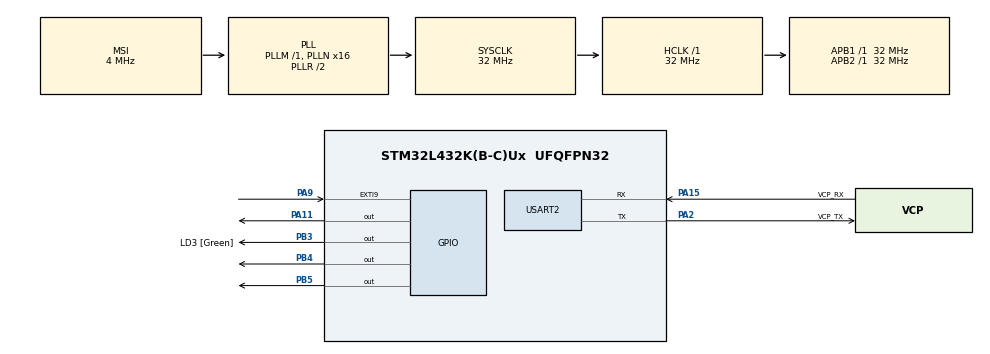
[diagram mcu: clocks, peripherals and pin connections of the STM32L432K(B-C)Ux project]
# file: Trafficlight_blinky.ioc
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Mcu.Family=STM32L4
Mcu.Name=STM32L432K(B-C)Ux
Mcu.Package=UFQFPN32
NVIC.EXTI9_5_IRQn=true\:0\:0\:false\:false\:true\:true\:true\:true
NVIC.PriorityGroup=NVIC_PRIORITYGROUP_4
NVIC.TIM1_BRK_TIM15_IRQn=true\:0\:0\:false\:false\:true\:true\:true\:true
NVIC.TIM1_CC_IRQn=true\:0\:0\:false\:false\:true\:true\:true\:true
NVIC.TIM1_TRG_COM_IRQn=true\:0\:0\:false\:false\:true\:true\:true\:true
NVIC.TIM1_UP_TIM16_IRQn=true\:0\:0\:false\:false\:true\:true\:true\:true
PA0.GPIO_Label=MCO [High speed clock in]
PA0.Mode=HSE-External-Clock-Source-for-LittleOrca
PA0.Signal=RCC_CK_IN
PA11.Signal=GPIO_Output
PA13\ (JTMS-SWDIO).GPIO_Label=SWDIO
PA13\ (JTMS-SWDIO).Mode=Serial_Wire
PA13\ (JTMS-SWDIO).Signal=SYS_JTMS-SWDIO
PA14\ (JTCK-SWCLK).GPIO_Label=SWCLK
PA14\ (JTCK-SWCLK).Mode=Serial_Wire
PA14\ (JTCK-SWCLK).Signal=SYS_JTCK-SWCLK
PA15\ (JTDI).GPIO_Label=VCP_RX
PA15\ (JTDI).Mode=Asynchronous
PA15\ (JTDI).Signal=USART2_RX
PA2.GPIO_Label=VCP_TX
PA2.Mode=Asynchronous
PA2.Signal=USART2_TX
PA9.Signal=GPXTI9
PB3\ (JTDO-TRACESWO).GPIO_Label=LD3 [Green]
PB3\ (JTDO-TRACESWO).Signal=GPIO_Output
PB4\ (NJTRST).Signal=GPIO_Output
PB5.Signal=GPIO_Output
PC14-OSC32_IN\ (PC14).Mode=LSE-External-Oscillator
PC14-OSC32_IN\ (PC14).Signal=RCC_OSC32_IN
PC15-OSC32_OUT\ (PC15).Mode=LSE-External-Oscillator
PC15-OSC32_OUT\ (PC15).Signal=RCC_OSC32_OUT
ProjectManager.HeapSize=0x200
ProjectManager.StackSize=0x400
ProjectManager.TargetToolchain=Makefile
RCC.AHBFreq_Value=32000000
RCC.APB1Freq_Value=32000000
RCC.APB1TimFreq_Value=32000000
RCC.APB2Freq_Value=32000000
RCC.APB2TimFreq_Value=32000000
RCC.CortexFreq_Value=32000000
RCC.HCLKFreq_Value=32000000
RCC.HSE_VALUE=8000000
RCC.HSI16_VALUE=16000000
RCC.HSI48_VALUE=48000000
RCC.HSI_VALUE=16000000
RCC.MSI_VALUE=4000000
RCC.PLLMUL=RCC_PLLMUL_4
RCC.PLLN=16
RCC.SYSCLKFreq_VALUE=32000000
RCC.SYSCLKSource=RCC_SYSCLKSOURCE_PLLCLK
RCC.VCOOutputFreq_Value=64000000
TIM1.Period=50
TIM1.Prescaler=32000
TIM15.Period=50
TIM15.Prescaler=32000
USART2.VirtualMode-Asynchronous=VM_ASYNC
VP_TIM15_VS_ClockSourceINT.Mode=Internal
VP_TIM1_VS_ClockSourceINT.Mode=Internal
board=NUCLEO-L432KC

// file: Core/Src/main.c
/* USER CODE BEGIN Header */
/**
  ******************************************************************************
  * @file           : main.c
  * @brief          : Main program body
  ******************************************************************************
  * @attention
  *
  * Copyright (c) 2022 STMicroelectronics.
  * All rights reserved.
  *
  * This software is licensed under terms that can be found in the LICENSE file
  * in the root directory of this software component.
  * If no LICENSE file comes with this software, it is provided AS-IS.
  *
  ******************************************************************************
  */
/* USER CODE END Header */
#include "main.h"

TIM_HandleTypeDef htim1;
TIM_HandleTypeDef htim15;

UART_HandleTypeDef huart2;

/* USER CODE BEGIN PV */
int count = 1;
typedef enum { false, true } bool;
bool state = true;
/* USER CODE END PV */

void SystemClock_Config(void);
static void MX_GPIO_Init(void);
static void MX_USART2_UART_Init(void);
static void MX_TIM1_Init(void);
static void MX_TIM15_Init(void);

/* USER CODE BEGIN 0 */
void HAL_GPIO_EXTI_Callback(uint16_t GPIO_Pin)
{
	HAL_TIM_Base_Start_IT(&htim1);
	state = false;
  // if(GPIO_Pin == GPIO_PIN_9){
	// HAL_TIM_Base_Start_IT(&htim1);
	// state = false;
  // }

}

void HAL_TIM_PeriodElapsedCallback(TIM_HandleTypeDef *htim)
{
  /* Prevent unused argument(s) compilation warning */
  UNUSED(htim);

  /* NOTE : This function should not be modified, when the callback is needed,
            the HAL_TIM_PeriodElapsedCallback could be implemented in the user file
   */
	if(HAL_GPIO_ReadPin(GPIOA, GPIO_PIN_11) == GPIO_PIN_RESET){ // 9
		if(count < 2){
		      count++;
		      }
		      else
		        count = 1;
		    }
		state = true;
		HAL_TIM_Base_Stop_IT(&htim1);

}
/* USER CODE END 0 */

int main(void)
{

  /* MCU Configuration--------------------------------------------------------*/

  /* Reset of all peripherals, Initializes the Flash interface and the Systick. */
  HAL_Init();

  /* Configure the system clock */
  SystemClock_Config();

  /* Initialize all configured peripherals */
  MX_GPIO_Init();
  MX_USART2_UART_Init();
  MX_TIM1_Init();
  MX_TIM15_Init();

  /* Infinite loop */
  /* USER CODE BEGIN WHILE */
  while (1)
  {
    if(count == 1){
    	HAL_GPIO_WritePin(GPIOA,GPIO_PIN_11, GPIO_PIN_SET);
      HAL_Delay(1000);
      HAL_GPIO_WritePin(GPIOA,GPIO_PIN_11, GPIO_PIN_RESET);
      HAL_GPIO_WritePin(GPIOB,GPIO_PIN_5, GPIO_PIN_SET);
      HAL_Delay(500);
      HAL_GPIO_WritePin(GPIOB,GPIO_PIN_5, GPIO_PIN_RESET);
      HAL_GPIO_WritePin(GPIOB,GPIO_PIN_4, GPIO_PIN_SET);
      HAL_Delay(1000);
      HAL_GPIO_WritePin(GPIOB,GPIO_PIN_4, GPIO_PIN_RESET);
      HAL_GPIO_WritePin(GPIOB,GPIO_PIN_5, GPIO_PIN_SET);
      HAL_Delay(500);
      HAL_GPIO_WritePin(GPIOB,GPIO_PIN_5, GPIO_PIN_RESET);
    }
    else{
    	HAL_GPIO_WritePin(GPIOA,GPIO_PIN_11, GPIO_PIN_RESET);
      HAL_GPIO_WritePin(GPIOB,GPIO_PIN_4, GPIO_PIN_RESET);
      HAL_GPIO_WritePin(GPIOB,GPIO_PIN_5, GPIO_PIN_RESET);
      HAL_GPIO_WritePin(GPIOB,GPIO_PIN_5, GPIO_PIN_SET);
      HAL_Delay(500);
      HAL_GPIO_WritePin(GPIOB,GPIO_PIN_5, GPIO_PIN_RESET);
      HAL_Delay(500);
    }
    /* USER CODE END WHILE */

  }
}

void SystemClock_Config(void)
{
  RCC_OscInitTypeDef RCC_OscInitStruct = {0};
  RCC_ClkInitTypeDef RCC_ClkInitStruct = {0};

  /** Configure the main internal regulator output voltage
  */
  if (HAL_PWREx_ControlVoltageScaling(PWR_REGULATOR_VOLTAGE_SCALE1) != HAL_OK)
  {
    Error_Handler();
  }

  /** Configure LSE Drive Capability
  */
  HAL_PWR_EnableBkUpAccess();
  __HAL_RCC_LSEDRIVE_CONFIG(RCC_LSEDRIVE_LOW);

  /** Initializes the RCC Oscillators according to the specified parameters
  * in the RCC_OscInitTypeDef structure.
  */
  RCC_OscInitStruct.OscillatorType = RCC_OSCILLATORTYPE_LSE|RCC_OSCILLATORTYPE_MSI;
  RCC_OscInitStruct.LSEState = RCC_LSE_ON;
  RCC_OscInitStruct.MSIState = RCC_MSI_ON;
  RCC_OscInitStruct.MSICalibrationValue = 0;
  RCC_OscInitStruct.MSIClockRange = RCC_MSIRANGE_6;
  RCC_OscInitStruct.PLL.PLLState = RCC_PLL_ON;
  RCC_OscInitStruct.PLL.PLLSource = RCC_PLLSOURCE_MSI;
  RCC_OscInitStruct.PLL.PLLM = 1;
  RCC_OscInitStruct.PLL.PLLN = 16;
  RCC_OscInitStruct.PLL.PLLP = RCC_PLLP_DIV7;
  RCC_OscInitStruct.PLL.PLLQ = RCC_PLLQ_DIV2;
  RCC_OscInitStruct.PLL.PLLR = RCC_PLLR_DIV2;
  if (HAL_RCC_OscConfig(&RCC_OscInitStruct) != HAL_OK)
  {
    Error_Handler();
  }

  /** Initializes the CPU, AHB and APB buses clocks
  */
  RCC_ClkInitStruct.ClockType = RCC_CLOCKTYPE_HCLK|RCC_CLOCKTYPE_SYSCLK
                              |RCC_CLOCKTYPE_PCLK1|RCC_CLOCKTYPE_PCLK2;
  RCC_ClkInitStruct.SYSCLKSource = RCC_SYSCLKSOURCE_PLLCLK;
  RCC_ClkInitStruct.AHBCLKDivider = RCC_SYSCLK_DIV1;
  RCC_ClkInitStruct.APB1CLKDivider = RCC_HCLK_DIV1;
  RCC_ClkInitStruct.APB2CLKDivider = RCC_HCLK_DIV1;

  if (HAL_RCC_ClockConfig(&RCC_ClkInitStruct, FLASH_LATENCY_1) != HAL_OK)
  {
    Error_Handler();
  }

  /** Enable MSI Auto calibration
  */
  HAL_RCCEx_EnableMSIPLLMode();
}

static void MX_TIM1_Init(void)
{

  TIM_ClockConfigTypeDef sClockSourceConfig = {0};
  TIM_MasterConfigTypeDef sMasterConfig = {0};

  htim1.Instance = TIM1;
  htim1.Init.Prescaler = 32000;
  htim1.Init.CounterMode = TIM_COUNTERMODE_UP;
  htim1.Init.Period = 50;
  htim1.Init.ClockDivision = TIM_CLOCKDIVISION_DIV1;
  htim1.Init.RepetitionCounter = 0;
  htim1.Init.AutoReloadPreload = TIM_AUTORELOAD_PRELOAD_DISABLE;
  if (HAL_TIM_Base_Init(&htim1) != HAL_OK)
  {
    Error_Handler();
  }
  sClockSourceConfig.ClockSource = TIM_CLOCKSOURCE_INTERNAL;
  if (HAL_TIM_ConfigClockSource(&htim1, &sClockSourceConfig) != HAL_OK)
  {
    Error_Handler();
  }
  sMasterConfig.MasterOutputTrigger = TIM_TRGO_RESET;
  sMasterConfig.MasterOutputTrigger2 = TIM_TRGO2_RESET;
  sMasterConfig.MasterSlaveMode = TIM_MASTERSLAVEMODE_DISABLE;
  if (HAL_TIMEx_MasterConfigSynchronization(&htim1, &sMasterConfig) != HAL_OK)
  {
    Error_Handler();
  }

}

static void MX_TIM15_Init(void)
{

  TIM_ClockConfigTypeDef sClockSourceConfig = {0};
  TIM_MasterConfigTypeDef sMasterConfig = {0};

  htim15.Instance = TIM15;
  htim15.Init.Prescaler = 32000;
  htim15.Init.CounterMode = TIM_COUNTERMODE_UP;
  htim15.Init.Period = 50;
  htim15.Init.ClockDivision = TIM_CLOCKDIVISION_DIV1;
  htim15.Init.RepetitionCounter = 0;
  htim15.Init.AutoReloadPreload = TIM_AUTORELOAD_PRELOAD_DISABLE;
  if (HAL_TIM_Base_Init(&htim15) != HAL_OK)
  {
    Error_Handler();
  }
  sClockSourceConfig.ClockSource = TIM_CLOCKSOURCE_INTERNAL;
  if (HAL_TIM_ConfigClockSource(&htim15, &sClockSourceConfig) != HAL_OK)
  {
    Error_Handler();
  }
  sMasterConfig.MasterOutputTrigger = TIM_TRGO_RESET;
  sMasterConfig.MasterSlaveMode = TIM_MASTERSLAVEMODE_DISABLE;
  if (HAL_TIMEx_MasterConfigSynchronization(&htim15, &sMasterConfig) != HAL_OK)
  {
    Error_Handler();
  }

}

static void MX_USART2_UART_Init(void)
{

  huart2.Instance = USART2;
  huart2.Init.BaudRate = 115200;
  huart2.Init.WordLength = UART_WORDLENGTH_8B;
  huart2.Init.StopBits = UART_STOPBITS_1;
  huart2.Init.Parity = UART_PARITY_NONE;
  huart2.Init.Mode = UART_MODE_TX_RX;
  huart2.Init.HwFlowCtl = UART_HWCONTROL_NONE;
  huart2.Init.OverSampling = UART_OVERSAMPLING_16;
  huart2.Init.OneBitSampling = UART_ONE_BIT_SAMPLE_DISABLE;
  huart2.AdvancedInit.AdvFeatureInit = UART_ADVFEATURE_NO_INIT;
  if (HAL_UART_Init(&huart2) != HAL_OK)
  {
    Error_Handler();
  }

}

static void MX_GPIO_Init(void)
{
  GPIO_InitTypeDef GPIO_InitStruct = {0};

  /* GPIO Ports Clock Enable */
  __HAL_RCC_GPIOC_CLK_ENABLE();
  __HAL_RCC_GPIOA_CLK_ENABLE();
  __HAL_RCC_GPIOB_CLK_ENABLE();

  /*Configure GPIO pin Output Level */
  HAL_GPIO_WritePin(GPIOA, GPIO_PIN_11, GPIO_PIN_RESET);

  /*Configure GPIO pin Output Level */
  HAL_GPIO_WritePin(GPIOB, LD3_Pin|GPIO_PIN_4|GPIO_PIN_5, GPIO_PIN_RESET);

  /*Configure GPIO pin : PA9 */
  GPIO_InitStruct.Pin = GPIO_PIN_9;
  GPIO_InitStruct.Mode = GPIO_MODE_IT_RISING;
  GPIO_InitStruct.Pull = GPIO_NOPULL;
  HAL_GPIO_Init(GPIOA, &GPIO_InitStruct);

  /*Configure GPIO pin : PA11 */
  GPIO_InitStruct.Pin = GPIO_PIN_11;
  GPIO_InitStruct.Mode = GPIO_MODE_OUTPUT_PP;
  GPIO_InitStruct.Pull = GPIO_NOPULL;
  GPIO_InitStruct.Speed = GPIO_SPEED_FREQ_LOW;
  HAL_GPIO_Init(GPIOA, &GPIO_InitStruct);

  /*Configure GPIO pins : LD3_Pin PB4 PB5 */
  GPIO_InitStruct.Pin = LD3_Pin|GPIO_PIN_4|GPIO_PIN_5;
  GPIO_InitStruct.Mode = GPIO_MODE_OUTPUT_PP;
  GPIO_InitStruct.Pull = GPIO_NOPULL;
  GPIO_InitStruct.Speed = GPIO_SPEED_FREQ_LOW;
  HAL_GPIO_Init(GPIOB, &GPIO_InitStruct);

  /* EXTI interrupt init*/
  HAL_NVIC_SetPriority(EXTI9_5_IRQn, 0, 0);
  HAL_NVIC_EnableIRQ(EXTI9_5_IRQn);

}

void Error_Handler(void)
{
  __disable_irq();
  while (1)
  {
  }
}
